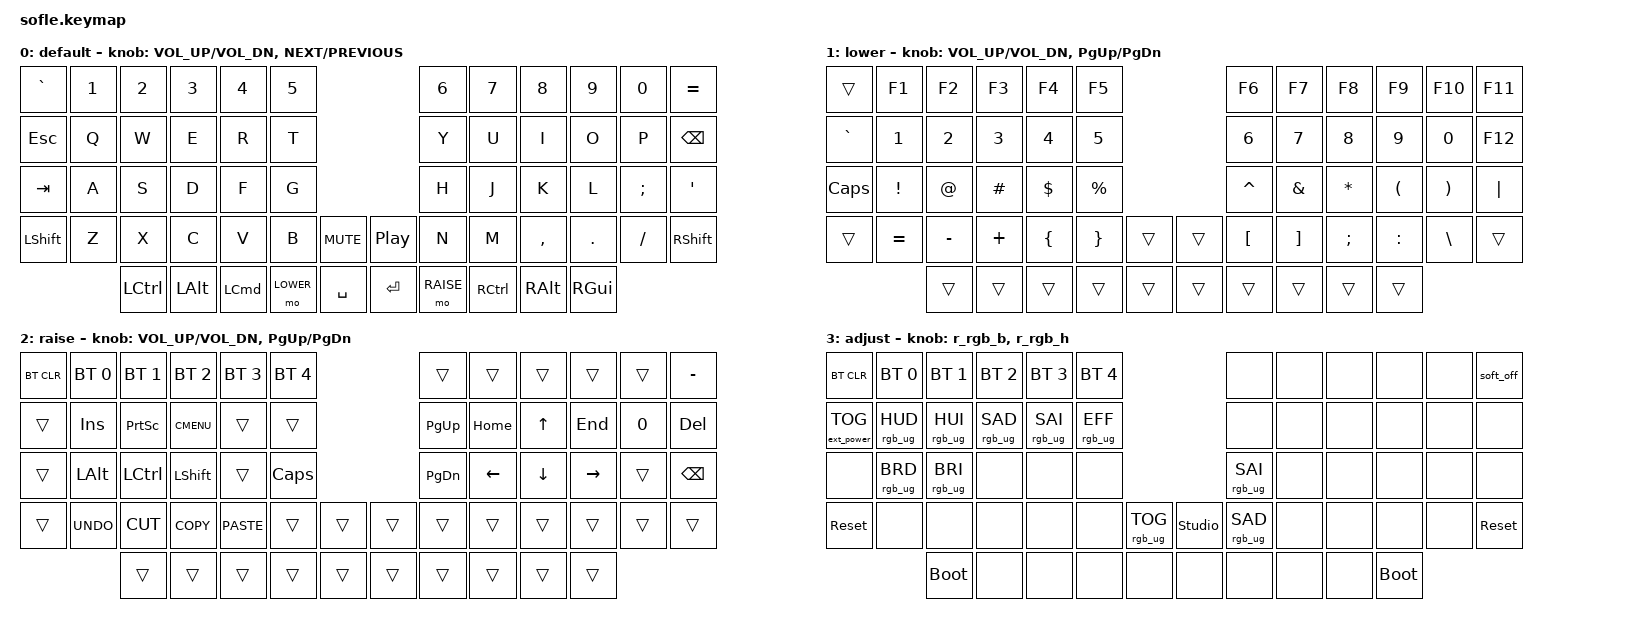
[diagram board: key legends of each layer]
/*
 * Copyright (c) 2020 The ZMK Contributors
 *
 * SPDX-License-Identifier: MIT
 */

#include <behaviors.dtsi>
#include <dt-bindings/zmk/bt.h>
#include <dt-bindings/zmk/ext_power.h>
#include <dt-bindings/zmk/keys.h>
#include <dt-bindings/zmk/rgb.h>

#define BASE 0
#define LOWER 1
#define RAISE 2
#define ADJUST 3

/ {
    // Activate ADJUST layer by pressing raise and lower

    conditional_layers {
        compatible = "zmk,conditional-layers";

        adjust_layer {
            if-layers = <LOWER RAISE>;
            then-layer = <ADJUST>;
        };
    };

    behaviors {
        r_rgb_b: r_rgb_b {
            compatible = "zmk,behavior-sensor-rotate";
            #sensor-binding-cells = <0>;
            bindings = <&rgb_ug  RGB_BRI>, <&rgb_ug RGB_BRD>;
        };

        r_rgb_h: r_rgb_h {
            compatible = "zmk,behavior-sensor-rotate";
            #sensor-binding-cells = <0>;
            bindings = <&rgb_ug RGB_HUI>, <&rgb_ug RGB_HUD>;
        };
    };

    left_encoder { steps = <30>; };

    right_encoder { steps = <30>; };

    sensors { triggers-per-rotation = <30>; };

    keymap {
        compatible = "zmk,keymap";

        default_layer {
            display-name = "default";

            // ------------------------------------------------------------------------------------------------------------
            // |   `   |  1  |  2  |  3   |  4   |  5   |                   |  6   |  7    |  8    |  9   |   0   |       |
            // |  ESC  |  Q  |  W  |  E   |  R   |  T   |                   |  Y   |  U    |  I    |  O   |   P   | BKSPC |
            // |  TAB  |  A  |  S  |  D   |  F   |  G   |                   |  H   |  J    |  K    |  L   |   ;   |   '   |
            // | SHIFT |  Z  |  X  |  C   |  V   |  B   |  MUTE  |  |       |  N   |  M    |  ,    |  .   |   /   | SHIFT |
            //               | GUI | ALT  | CTRL | LOWER|  ENTER |  | SPACE | RAISE| CTRL  | ALT   | GUI  |

            bindings = <
&kp GRAVE       &kp N1  &kp N2            &kp N3    &kp N4            &kp N5                                     &kp N6     &kp N7     &kp N8     &kp N9    &kp N0    &kp EQUAL
&kp ESC         &kp Q   &kp W             &kp E     &kp R             &kp T                                      &kp Y      &kp U      &kp I      &kp O     &kp P     &kp BSPC
&kp TAB         &kp A   &kp S             &kp D     &kp F             &kp G                                      &kp H      &kp J      &kp K      &kp L     &kp SEMI  &kp SQT
&kp LEFT_SHIFT  &kp Z   &kp X             &kp C     &kp V             &kp B      &kp K_MUTE    &kp C_PLAY_PAUSE  &kp N      &kp M      &kp COMMA  &kp DOT   &kp FSLH  &kp RSHFT
                        &kp LEFT_CONTROL  &kp LALT  &kp LEFT_COMMAND  &mo LOWER  &kp SPACE     &kp RETURN        &mo RAISE  &kp RCTRL  &kp RALT   &kp RGUI
            >;

            sensor-bindings =
                <&inc_dec_kp C_VOL_UP C_VOL_DN>,
                <&inc_dec_kp C_NEXT C_PREVIOUS>;
        };

        lower_layer {
            display-name = "lower";

            // TODO: Some binds are waiting for shifted keycode support.
            // ------------------------------------------------------------------------------------------------------------
            // |       |  F1 |  F2 |  F3  |  F4  |  F5  |                   |  F6  |  F7   |  F8   |  F9  |  F10  |  F11  |
            // |   `   |  1  |  2  |  3   |  4   |  5   |                   |  6   |  7    |  8    |  9   |   0   |  F12  |
            // |       |  !  |  @  |  #   |  $   |  %   |                   |  ^   |  &    |  *    |  (   |   )   |   |   |
            // |       |  =  |  -  |  +   |  {   |  }   |        |  |       |  [   |  ]    |  ;    |  :   |   \   |       |
            //               |     |      |      |      |        |  |       |      |       |       |      |

            bindings = <
&trans     &kp F1     &kp F2     &kp F3    &kp F4    &kp F5                       &kp F6     &kp F7    &kp F8     &kp F9     &kp F10   &kp F11
&kp GRAVE  &kp N1     &kp N2     &kp N3    &kp N4    &kp N5                       &kp N6     &kp N7    &kp N8     &kp N9     &kp N0    &kp F12
&kp CLCK   &kp EXCL   &kp AT     &kp HASH  &kp DLLR  &kp PRCNT                    &kp CARET  &kp AMPS  &kp ASTRK  &kp LPAR   &kp RPAR  &kp PIPE
&trans     &kp EQUAL  &kp MINUS  &kp PLUS  &kp LBRC  &kp RBRC   &trans    &trans  &kp LBKT   &kp RBKT  &kp SEMI   &kp COLON  &kp BSLH  &trans
                      &trans     &trans    &trans    &trans     &trans    &trans  &trans     &trans    &trans     &trans
            >;

            sensor-bindings = <&inc_dec_kp C_VOL_UP C_VOL_DN &inc_dec_kp PG_UP PG_DN>;
        };

        raise_layer {
            display-name = "raise";

            // ------------------------------------------------------------------------------------------------------------
            // | BTCLR | BT1  | BT2  |  BT3  |  BT4  |  BT5 |                |      |      |       |      |       |       |
            // |       | INS  | PSCR | GUI   |       |      |                | PGUP |      |   ^   |      |       |       |
            // |       | ALT  | CTRL | SHIFT |       | CAPS |                | PGDN |   <- |   v   |  ->  |  DEL  | BKSPC |
            // |       | UNDO | CUT  | COPY  | PASTE |      |      |  |      |      |      |       |      |       |       |
            //                |      |       |       |      |      |  |      |      |      |       |      |

            bindings = <
&bt BT_CLR  &bt BT_SEL 0  &bt BT_SEL 1  &bt BT_SEL 2  &bt BT_SEL 3  &bt BT_SEL 4                    &trans     &trans    &trans    &trans     &trans  &kp MINUS
&trans      &kp INS       &kp PSCRN     &kp K_CMENU   &trans        &trans                          &kp PG_UP  &kp HOME  &kp UP    &kp END    &kp N0  &kp DELETE
&trans      &kp LALT      &kp LCTRL     &kp LSHFT     &trans        &kp CLCK                        &kp PG_DN  &kp LEFT  &kp DOWN  &kp RIGHT  &trans  &kp BSPC
&trans      &kp K_UNDO    &kp K_CUT     &kp K_COPY    &kp K_PASTE   &trans        &trans    &trans  &trans     &trans    &trans    &trans     &trans  &trans
                          &trans        &trans        &trans        &trans        &trans    &trans  &trans     &trans    &trans    &trans
            >;

            sensor-bindings = <&inc_dec_kp C_VOL_UP C_VOL_DN &inc_dec_kp PG_UP PG_DN>;
        };

        adjust_layer {
            // ----------------------------------------------------------------------------------------------------------------------------
            // | BTCLR  |  BT1    |  BT2    |   BT3   |   BT4   |   BT5   |                  |      |      |       |      |       |       |
            // | EXTPWR | RGB_HUD | RGB_HUI | RGB_SAD | RGB_SAI | RGB_EFF |                  |      |      |       |      |       |       |
            // |        | RGB_BRD | RGB_BRI |         |         |         |                  |      |      |       |      |       |       |
            // |        |         |         |         |         |         | RGB_TOG | |      |      |      |       |      |       |       |
            //                    |         |         |         |         |         | |      |      |      |       |      |

            display-name = "adjust";
            bindings = <
&bt BT_CLR         &bt BT_SEL 0     &bt BT_SEL 1     &bt BT_SEL 2     &bt BT_SEL 3     &bt BT_SEL 4                                        &none            &none  &none  &none        &none  &soft_off
&ext_power EP_TOG  &rgb_ug RGB_HUD  &rgb_ug RGB_HUI  &rgb_ug RGB_SAD  &rgb_ug RGB_SAI  &rgb_ug RGB_EFF                                     &none            &none  &none  &none        &none  &none
&none              &rgb_ug RGB_BRD  &rgb_ug RGB_BRI  &none            &none            &none                                               &rgb_ug RGB_SAI  &none  &none  &none        &none  &none
&sys_reset         &none            &none            &none            &none            &none            &rgb_ug RGB_TOG    &studio_unlock  &rgb_ug RGB_SAD  &none  &none  &none        &none  &sys_reset
                                    &bootloader      &none            &none            &none            &none              &none           &none            &none  &none  &bootloader
            >;

            sensor-bindings = <&r_rgb_b>, <&r_rgb_h>;
        };
    };
};
